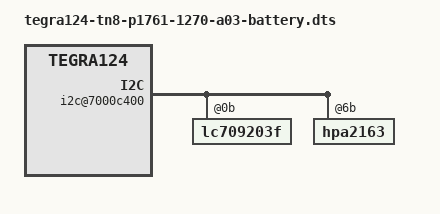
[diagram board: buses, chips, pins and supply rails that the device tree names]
#include "tegra124-tn8-p1761-1270-a03.dts"
#include "tegra124-platforms/tegra124-tn8-usb-devices.dtsi"


/ {
	i2c@7000c400 {
		lc709203f@0b {
			status = "okay";
			onsemi,kernel-threshold-soc = < 2 >;
		};

		hpa2163@6b {
			charger {
				status = "okay";
			};
		};
	};
};

